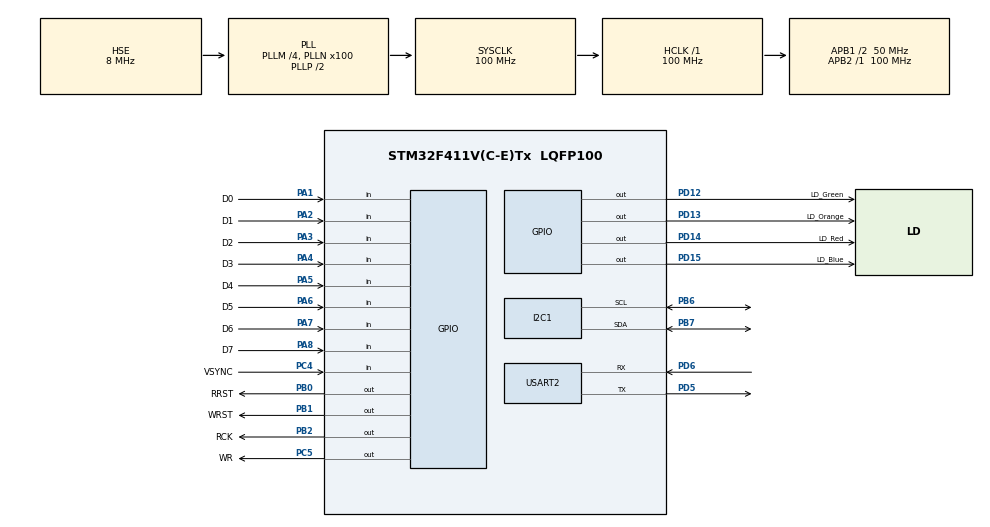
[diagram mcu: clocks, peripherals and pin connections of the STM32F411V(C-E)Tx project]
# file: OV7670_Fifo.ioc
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Mcu.Family=STM32F4
Mcu.Name=STM32F411V(C-E)Tx
Mcu.Package=LQFP100
NVIC.PriorityGroup=NVIC_PRIORITYGROUP_4
PA1.GPIO_Label=D0
PA1.Signal=GPIO_Input
PA13.Mode=Serial_Wire
PA13.Signal=SYS_JTMS-SWDIO
PA14.Mode=Serial_Wire
PA14.Signal=SYS_JTCK-SWCLK
PA2.GPIO_Label=D1
PA2.Signal=GPIO_Input
PA3.GPIO_Label=D2
PA3.Signal=GPIO_Input
PA4.GPIO_Label=D3
PA4.Signal=GPIO_Input
PA5.GPIO_Label=D4
PA5.Signal=GPIO_Input
PA6.GPIO_Label=D5
PA6.Signal=GPIO_Input
PA7.GPIO_Label=D6
PA7.Signal=GPIO_Input
PA8.GPIO_Label=D7
PA8.Signal=GPIO_Input
PB0.GPIO_Label=RRST
PB0.GPIO_Speed=GPIO_SPEED_FREQ_VERY_HIGH
PB0.Signal=GPIO_Output
PB1.GPIO_Label=WRST
PB1.GPIO_Speed=GPIO_SPEED_FREQ_VERY_HIGH
PB1.Signal=GPIO_Output
PB2.GPIO_Label=RCK
PB2.GPIO_Speed=GPIO_SPEED_FREQ_VERY_HIGH
PB2.Signal=GPIO_Output
PB6.Mode=I2C
PB6.Signal=I2C1_SCL
PB7.Mode=I2C
PB7.Signal=I2C1_SDA
PC4.GPIO_Label=VSYNC
PC4.Signal=GPIO_Input
PC5.GPIO_Label=WR
PC5.GPIO_Speed=GPIO_SPEED_FREQ_VERY_HIGH
PC5.Signal=GPIO_Output
PD12.GPIO_Label=LD_Green
PD12.PinState=GPIO_PIN_RESET
PD12.Signal=GPIO_Output
PD13.GPIO_Label=LD_Orange
PD13.PinState=GPIO_PIN_RESET
PD13.Signal=GPIO_Output
PD14.GPIO_Label=LD_Red
PD14.PinState=GPIO_PIN_RESET
PD14.Signal=GPIO_Output
PD15.GPIO_Label=LD_Blue
PD15.PinState=GPIO_PIN_RESET
PD15.Signal=GPIO_Output
PD5.Mode=Asynchronous
PD5.Signal=USART2_TX
PD6.Mode=Asynchronous
PD6.Signal=USART2_RX
PH0\ -\ OSC_IN.Mode=HSE-External-Oscillator
PH0\ -\ OSC_IN.Signal=RCC_OSC_IN
PH1\ -\ OSC_OUT.Mode=HSE-External-Oscillator
PH1\ -\ OSC_OUT.Signal=RCC_OSC_OUT
ProjectManager.HeapSize=0x200
ProjectManager.StackSize=0x400
ProjectManager.TargetToolchain=Makefile
RCC.48MHZClocksFreq_Value=50000000
RCC.AHBFreq_Value=100000000
RCC.APB1CLKDivider=RCC_HCLK_DIV2
RCC.APB1Freq_Value=50000000
RCC.APB1TimFreq_Value=100000000
RCC.APB2Freq_Value=100000000
RCC.APB2TimFreq_Value=100000000
RCC.CortexFreq_Value=100000000
RCC.HCLKFreq_Value=100000000
RCC.HSE_VALUE=8000000
RCC.HSI_VALUE=16000000
RCC.LSE_VALUE=32768
RCC.PLLM=4
RCC.PLLN=100
RCC.PLLSourceVirtual=RCC_PLLSOURCE_HSE
RCC.SYSCLKFreq_VALUE=100000000
RCC.SYSCLKSource=RCC_SYSCLKSOURCE_PLLCLK
RCC.VCOOutputFreq_Value=200000000
TIM1.Period=65535-1
TIM1.Prescaler=100-1
USART2.VirtualMode=VM_ASYNC
VP_TIM1_VS_ClockSourceINT.Mode=Internal
board=custom

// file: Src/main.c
/* USER CODE BEGIN Header */
/**
  ******************************************************************************
  * @file           : main.c
  * @brief          : Main program body
  ******************************************************************************
  * @attention
  *
  * Copyright (c) 2023 STMicroelectronics.
  * All rights reserved.
  *
  * This software is licensed under terms that can be found in the LICENSE file
  * in the root directory of this software component.
  * If no LICENSE file comes with this software, it is provided AS-IS.
  *
  ******************************************************************************
  */
/* USER CODE END Header */
#include "main.h"
#include "i2c.h"
#include "tim.h"
#include "usart.h"
#include "gpio.h"

/* USER CODE BEGIN Includes */
#include <stdio.h>  // sprintf
#include <string.h> // strlen
#include "fifo.h"
#include "fifo_camera.h"
/* USER CODE END Includes */

/* USER CODE BEGIN PV */
char debug_msg[100];

const uint16_t XRES = 160;
const uint16_t YRES = 120;
const uint8_t BYTES_PER_PIXEL = 2;
uint8_t frame[160 * 120 * 2];

/* USER CODE END PV */

void SystemClock_Config(void);

/* USER CODE BEGIN 0 */
void HAL_Delay_us(uint32_t us) {
    __HAL_TIM_SET_COUNTER(&htim1, 0); // set the counter value a 0
    while (__HAL_TIM_GET_COUNTER(&htim1) < us); // wait for the counter to reach the us input in the parameter
}

void frameToSerial()
{
  uint32_t i = 0;
  sprintf(debug_msg, "NEW FRAME *********************** \r\n");
  HAL_UART_Transmit(&huart2, (uint8_t*)debug_msg, strlen(debug_msg), 100);

  for(int y = 0; y < YRES; y+=1) {
    i = y * XRES;
    for(int x = 0; x < XRES; x+=1) {
      sprintf(debug_msg, "%d, ", frame[i + x]);
      HAL_UART_Transmit(&huart2, (uint8_t*)debug_msg, strlen(debug_msg), 100);
    }
    sprintf(debug_msg, "\r\n\n");
    HAL_UART_Transmit(&huart2, (uint8_t*)debug_msg, strlen(debug_msg), 100);
  }
}
/* USER CODE END 0 */

int main(void)
{

  /* MCU Configuration--------------------------------------------------------*/

  /* Reset of all peripherals, Initializes the Flash interface and the Systick. */
  HAL_Init();

  /* Configure the system clock */
  SystemClock_Config();

  /* Initialize all configured peripherals */
  MX_GPIO_Init();
  MX_I2C1_Init();
  MX_TIM1_Init();
  MX_USART2_UART_Init();
  /* USER CODE BEGIN 2 */
  HAL_TIM_Base_Start(&htim1);
  Camera_Init();
  Camera_QQVGARGB565();
  /* USER CODE END 2 */

  /* Infinite loop */
  while (1)
  {

    /* USER CODE BEGIN 3 */
    // sprintf(debug_msg, "Hello World!\r\n");
    // HAL_UART_Transmit(&huart2, (uint8_t*)debug_msg, strlen(debug_msg), 1000);
    // HAL_Delay_us(65000);

    while(!HAL_GPIO_ReadPin(VSYNC_GPIO_Port, VSYNC_Pin)); // wait for VSYNC to go high
    while(HAL_GPIO_ReadPin(VSYNC_GPIO_Port, VSYNC_Pin));  // wait for VSYNC to go low
    Camera_Prepare_Capture();
    Camera_Start_Capture();
    while(!HAL_GPIO_ReadPin(VSYNC_GPIO_Port, VSYNC_Pin)); // wait for VSYNC to go high
    Camera_Stop_Capture();

    // color mode
    Camera_Read_Frame(frame, XRES, YRES, BYTES_PER_PIXEL);

    HAL_GPIO_TogglePin(LD_Green_GPIO_Port, LD_Green_Pin);
    HAL_GPIO_TogglePin(LD_Red_GPIO_Port, LD_Red_Pin);
    HAL_GPIO_TogglePin(LD_Blue_GPIO_Port, LD_Blue_Pin);
    HAL_GPIO_TogglePin(LD_Orange_GPIO_Port, LD_Orange_Pin);
    frameToSerial();
  }
  /* USER CODE END 3 */
}

void SystemClock_Config(void)
{
  RCC_OscInitTypeDef RCC_OscInitStruct = {0};
  RCC_ClkInitTypeDef RCC_ClkInitStruct = {0};

  /** Configure the main internal regulator output voltage
  */
  __HAL_RCC_PWR_CLK_ENABLE();
  __HAL_PWR_VOLTAGESCALING_CONFIG(PWR_REGULATOR_VOLTAGE_SCALE1);

  /** Initializes the RCC Oscillators according to the specified parameters
  * in the RCC_OscInitTypeDef structure.
  */
  RCC_OscInitStruct.OscillatorType = RCC_OSCILLATORTYPE_HSE;
  RCC_OscInitStruct.HSEState = RCC_HSE_ON;
  RCC_OscInitStruct.PLL.PLLState = RCC_PLL_ON;
  RCC_OscInitStruct.PLL.PLLSource = RCC_PLLSOURCE_HSE;
  RCC_OscInitStruct.PLL.PLLM = 4;
  RCC_OscInitStruct.PLL.PLLN = 100;
  RCC_OscInitStruct.PLL.PLLP = RCC_PLLP_DIV2;
  RCC_OscInitStruct.PLL.PLLQ = 4;
  if (HAL_RCC_OscConfig(&RCC_OscInitStruct) != HAL_OK)
  {
    Error_Handler();
  }

  /** Initializes the CPU, AHB and APB buses clocks
  */
  RCC_ClkInitStruct.ClockType = RCC_CLOCKTYPE_HCLK|RCC_CLOCKTYPE_SYSCLK
                              |RCC_CLOCKTYPE_PCLK1|RCC_CLOCKTYPE_PCLK2;
  RCC_ClkInitStruct.SYSCLKSource = RCC_SYSCLKSOURCE_PLLCLK;
  RCC_ClkInitStruct.AHBCLKDivider = RCC_SYSCLK_DIV1;
  RCC_ClkInitStruct.APB1CLKDivider = RCC_HCLK_DIV2;
  RCC_ClkInitStruct.APB2CLKDivider = RCC_HCLK_DIV1;

  if (HAL_RCC_ClockConfig(&RCC_ClkInitStruct, FLASH_LATENCY_3) != HAL_OK)
  {
    Error_Handler();
  }
}

void Error_Handler(void)
{
  __disable_irq();
  while (1)
  {
  }
}
